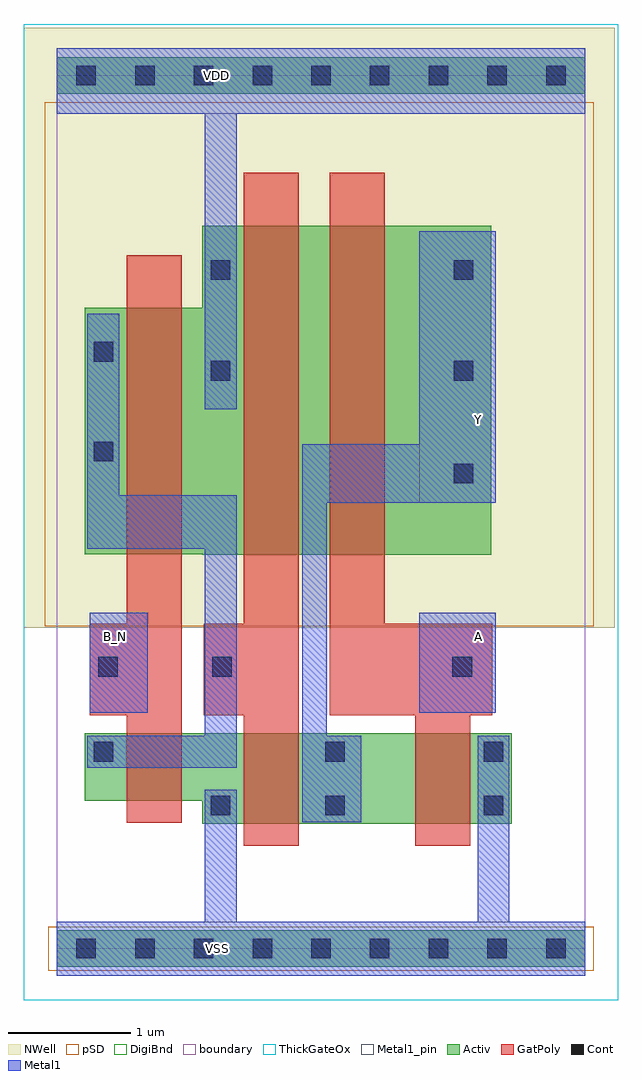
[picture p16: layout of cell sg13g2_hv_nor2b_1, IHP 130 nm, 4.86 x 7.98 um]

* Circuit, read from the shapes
.subckt sg13g2_hv_nor2b_1 A B_N VDD VSS Y
XM1 VSS B_N n1 VSS sg13_hv_nmos w=0.55u l=0.45u
XM2 Y n1 VSS VSS sg13_hv_nmos w=0.74u l=0.45u
XM3 VSS A Y VSS sg13_hv_nmos w=0.74u l=0.45u
XM4 VDD B_N n1 VDD sg13_hv_pmos w=2.015u l=0.45u
XM5 n2 n1 VDD VDD sg13_hv_pmos w=2.69u l=0.45u
XM6 Y A n2 VDD sg13_hv_pmos w=2.69u l=0.45u
.ends

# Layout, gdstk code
import gdstk
lib = gdstk.Library(unit=1e-6, precision=1e-09)
def R(c, l, rs):  # rectangles x0, y0, x1, y1
    for r in rs: c.add(gdstk.rectangle(r[:2], r[2:], *l))
def A(c, l, x, y, w, h, nx, ny, dx, dy):  # array of equal rectangles
    R(c, l, [(x+i*dx, y+j*dy, x+i*dx+w, y+j*dy+h) for i in range(nx) for j in range(ny)])
def P(c, l, *ps):  # polygons
    for p in ps: c.add(gdstk.Polygon(p, *l))
Activ = (1, 0)
GatPoly = (5, 0)
Cont = (6, 0)
Metal1 = (8, 0)
Metal1_pin = (8, 2)
pSD = (14, 0)
DigiBnd = (16, 0)
NWell = (31, 0)
ThickGateOx = (44, 0)
boundary = (189, 4)

sg13g2_hv_nor2b_1 = lib.new_cell('sg13g2_hv_nor2b_1')
R(sg13g2_hv_nor2b_1, Activ, [(0,-0.15,4.32,0.15), (0,6.99,4.32,7.29)])
P(sg13g2_hv_nor2b_1, Activ, [(1.19,1.02),(1.19,1.21),(0.23,1.21),(0.23,1.76),(3.72,1.76),(3.72,1.02)],
  [(1.19,3.22),(1.19,3.225),(0.23,3.225),(0.23,5.24),(1.19,5.24),(1.19,5.91),(3.55,5.91),(3.55,3.22)])
P(sg13g2_hv_nor2b_1, GatPoly, [(0.57,1.03),(0.57,1.91),(0.27,1.91),(0.27,2.655),(0.57,2.655),(0.57,5.67),(1.02,5.67),(1.02,1.03)],
  [(1.53,0.84),(1.53,1.91),(1.2,1.91),(1.2,2.655),(1.53,2.655),(1.53,6.345),(1.98,6.345),(1.98,0.84)],
  [(2.93,0.84),(2.93,1.91),(2.23,1.91),(2.23,6.345),(2.68,6.345),(2.68,2.655),(3.56,2.655),(3.56,1.91),(3.38,1.91),(3.38,0.84)])
A(sg13g2_hv_nor2b_1, Cont, 0.16, -0.08, 0.16, 0.16, 9, 2, 0.48, 7.14)
R(sg13g2_hv_nor2b_1, Cont, [(1.26,1.09,1.42,1.25), (2.195,1.09,2.355,1.25), (3.49,1.09,3.65,1.25), (0.3,1.53,0.46,1.69), (2.195,1.53,2.355,1.69), (3.49,1.53,3.65,1.69), (0.34,2.225,0.5,2.385), (1.27,2.225,1.43,2.385), (3.235,2.225,3.395,2.385), (3.245,3.805,3.405,3.965), (0.3,3.985,0.46,4.145), (1.26,4.645,1.42,4.805), (3.245,4.645,3.405,4.805), (0.3,4.8,0.46,4.96), (1.26,5.47,1.42,5.63), (3.245,5.47,3.405,5.63)])
R(sg13g2_hv_nor2b_1, Metal1, [(0.27,1.93,0.745,2.745), (2.965,1.93,3.59,2.745)])
P(sg13g2_hv_nor2b_1, Metal1, [(2.005,1.035),(2.005,4.125),(2.965,4.125),(2.965,5.865),(3.59,5.865),(3.59,3.645),(2.205,3.645),(2.205,1.74),(2.49,1.74),(2.49,1.035)],
  [(0.25,1.48),(0.25,1.74),(1.21,1.74),(1.21,3.27),(0.25,3.27),(0.25,5.19),(0.51,5.19),(0.51,3.705),(1.47,3.705),(1.47,1.48)],
  [(0,-0.22),(0,0.22),(1.21,0.22),(1.21,1.3),(1.47,1.3),(1.47,0.22),(3.44,0.22),(3.44,1.74),(3.7,1.74),(3.7,0.22),(4.32,0.22),(4.32,-0.22)],
  [(1.21,4.41),(1.21,6.825),(0,6.825),(0,7.36),(4.32,7.36),(4.32,6.825),(1.47,6.825),(1.47,4.41)])
R(sg13g2_hv_nor2b_1, Metal1_pin, [(0,-0.22,4.32,0.22), (0.27,1.93,0.745,2.745), (2.965,1.93,3.59,2.745), (2.965,3.645,3.59,5.865), (0,6.825,4.32,7.36)])
R(sg13g2_hv_nor2b_1, pSD, [(-0.07,-0.18,4.39,0.18), (-0.1,2.635,4.39,6.92)])
R(sg13g2_hv_nor2b_1, DigiBnd, [(0,0,4.32,7.14)])
R(sg13g2_hv_nor2b_1, NWell, [(-0.27,2.625,4.56,7.53)])
R(sg13g2_hv_nor2b_1, ThickGateOx, [(-0.27,-0.42,4.59,7.56)])
R(sg13g2_hv_nor2b_1, boundary, [(0,0,4.32,7.14)])
sg13g2_hv_nor2b_1.add(gdstk.Label('A', (3.45,2.555), layer=8, texttype=25))
sg13g2_hv_nor2b_1.add(gdstk.Label('B_N', (0.48,2.555), layer=8, texttype=25))
sg13g2_hv_nor2b_1.add(gdstk.Label('VDD', (1.305,7.14), layer=8, texttype=25))
sg13g2_hv_nor2b_1.add(gdstk.Label('Y', (3.45,4.33), layer=8, texttype=25))
sg13g2_hv_nor2b_1.add(gdstk.Label('VSS', (1.315,0.005), layer=8, texttype=25))

lib.write_gds('sg13g2_hv_nor2b_1.gds')
